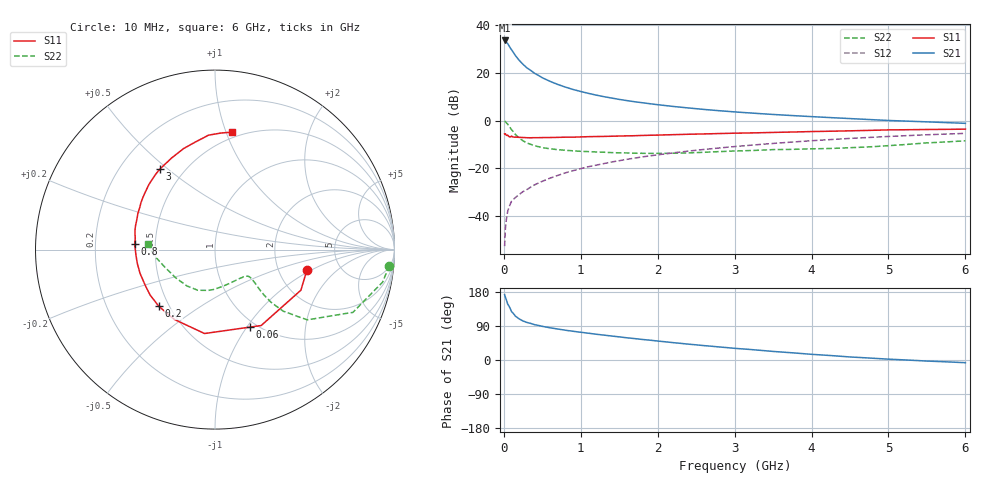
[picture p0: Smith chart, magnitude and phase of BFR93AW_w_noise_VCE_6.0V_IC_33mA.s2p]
! (c) 2017  Infineon Technologies AG, Munich
! Infineon Technologies  Discrete & RF Semiconductors
! BFR93AW
! VCE =  6.0 V,  IC =  33 mA
! Common Emitter S-Parameters:  Jan 2017
# GHz  S  MA  R  50
!  f  S11  S21  S12  S22
! GHz  MAG  ANG  MAG  ANG  MAG  ANG  MAG  ANG
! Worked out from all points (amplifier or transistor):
!   77 points, 10 MHz to 6 GHz, reference 50 ohm
!   highest |S21| = 33.7 dB at 10 MHz (marker M1)
!   |S21| within 3 dB of that: start of sweep to 81.6 MHz
!   unconditionally stable (mu >= 1): 578.6 MHz to 2.014 GHz
!   at 130 MHz: K = 0.53, MSG = 30.6 dB, |S12| = -32.9 dB
!   at 2.2 GHz: K = 0.99, MSG = 9.8 dB, |S12| = -13.6 dB
!   at 6 GHz: K = 0.87, MSG = 2.1 dB, |S12| = -5.4 dB
!   lowest NFmin = 1.88 dB at 450 MHz
!   S11 on the Smith chart (normalised r, x): 10 MHz: 2.88, -0.92; 60 MHz: 0.93, -1.03; 200 MHz: 0.44, -0.35; 800 MHz: 0.38, +0.03; 3 GHz: 0.37, +0.47; 6 GHz: 0.45, +1.05
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0.01  0.5246 -12.7  48.31 172.5  0.0023 80.4  0.9747 -5.3
0.02  0.5293 -25.3  47.92 165.8  0.0054 81.4  0.9513 -11.0
0.05  0.4951 -58.7  41.49 147.7  0.0124 69.3  0.8441 -24.5
0.06  0.4736 -65.8  39.03 144.6  0.0139 67.1  0.8017 -26.5
0.1  0.4712 -97.1  30.79 127.5  0.0202 61.8  0.6457 -37.3
0.15  0.4502 -120.3  23.29 115.8  0.0242 59.1  0.5118 -42.1
0.2  0.4447 -134.7  18.44 108.4  0.0281 60.9  0.429 -43.2
0.25  0.4414 -145.0  15.19 102.9  0.0323 61.2  0.3758 -42.9
0.3  0.437 -152.3  12.83 99.1  0.0356 62.8  0.3382 -42.0
0.4  0.4382 -162.5  9.85 93.2  0.0447 65.8  0.2958 -40.2
0.5  0.4397 -169.9  7.953 88.8  0.053 67.7  0.271 -39.0
0.6  0.4411 -175.4  6.686 85.0  0.0618 69.3  0.2559 -38.4
0.7  0.4442 179.8  5.756 81.8  0.0704 70.3  0.2452 -38.3
0.8  0.4485 175.9  5.064 78.6  0.0798 70.7  0.2377 -38.7
1.1  0.4597 165.6  3.733 70.7  0.1074 70.2  0.2231 -42.3
1.5  0.4742 155.1  2.79 61.0  0.1438 68.5  0.2104 -50.8
2.1  0.5013 141.4  2.07 48.0  0.2003 64.4  0.2052 -69.6
3  0.5441 124.2  1.523 30.8  0.2848 56.6  0.23 -99.0
3.1  0.5471 122.4  1.485 29.3  0.2939 55.5  0.2321 -101.9
4.1  0.5926 105.9  1.19 13.7  0.3867 45.4  0.2568 -131.1
5.1  0.6402 92.0  0.993 1.3  0.4721 34.5  0.3049 -164.3
6  0.6614 81.6  0.876 -7.1  0.5391 24.4  0.3759 175.3
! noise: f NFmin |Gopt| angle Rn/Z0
0.45  1.88  0.2  177  0.16
0.9  2.14  0.27  -173  0.16
1.9  3.19  0.51  -134  0.3
2.4  3.85  0.56  -124  0.58
